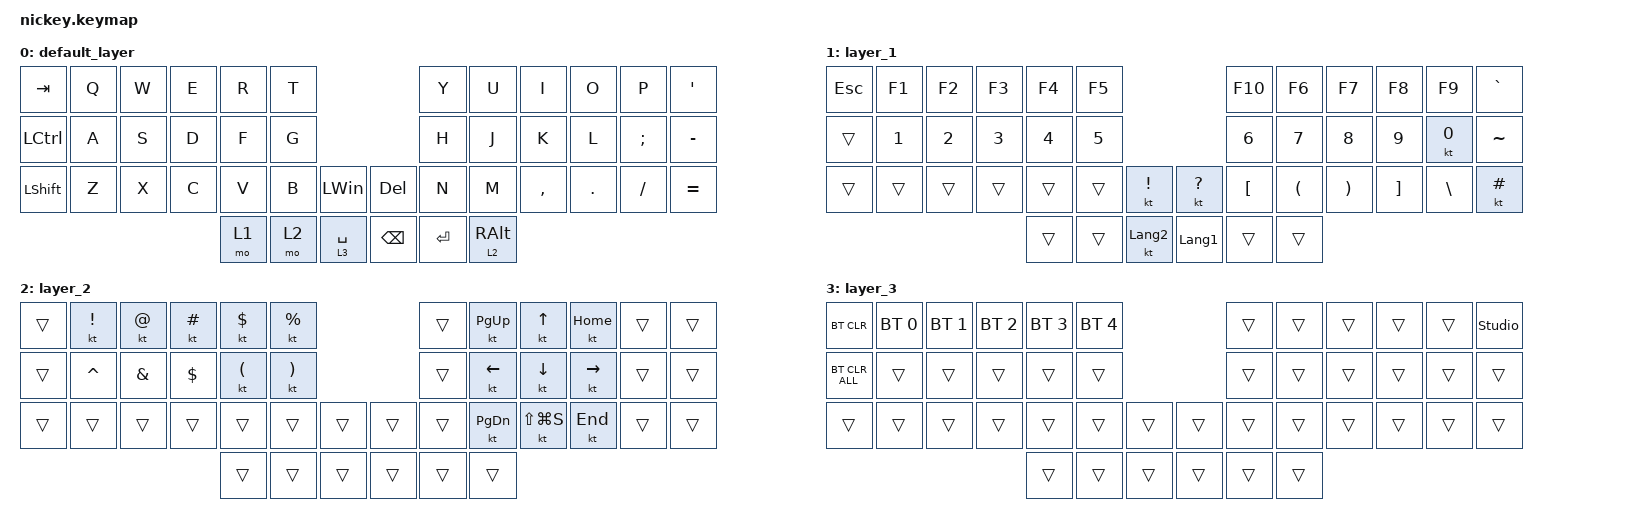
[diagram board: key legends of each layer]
#include <input/processors.dtsi>
#include <dt-bindings/zmk/input_transform.h>
#include <zephyr/dt-bindings/input/input-event-codes.h>
#include <behaviors.dtsi>
#include <dt-bindings/zmk/bt.h>
#include <dt-bindings/zmk/keys.h>
#include <dt-bindings/zmk/pointing.h>

&mt {
    flavor = "balanced";
    quick-tap-ms = <0>;
};

&lt {
    quick-tap-ms = <300>;
    flavor = "balanced";
};

/ {
    combos { compatible = "zmk,combos"; };

    macros {
        to_layer_0: to_layer_0 {
            compatible = "zmk,behavior-macro-one-param";
            #binding-cells = <1>;
            bindings = <&to 0 &macro_param_1to1 &kp MACRO_PLACEHOLDER>;
            label = "TO_LAYER_0";
        };
    };

    behaviors {
        lt_to_layer_0: lt_to_layer_0 {
            compatible = "zmk,behavior-hold-tap";
            label = "LAYER_TAP_TO_0";
            bindings = <&mo>, <&to_layer_0>;

            #binding-cells = <2>;
            tapping-term-ms = <200>;
        };

        scroll_up_down: mouse_wheel_up_down {
            compatible = "zmk,behavior-sensor-rotate";
            #sensor-binding-cells = <0>;
            bindings = <&msc SCRL_DOWN>, <&msc SCRL_UP>;

            tap-ms = <20>;
        };

        scroll_right_left: mouse_wheel_right_left {
            compatible = "zmk,behavior-sensor-rotate";
            #sensor-binding-cells = <0>;
            bindings = <&msc SCRL_LEFT>, <&msc SCRL_RIGHT>;

            tap-ms = <20>;
        };
    };

    keymap {
        compatible = "zmk,keymap";

        default_layer {
            bindings = <
&kp TAB    &kp Q  &kp W  &kp E  &kp R  &kp T                              &kp Y    &kp U       &kp I      &kp O    &kp P     &kp SQT
&kp LCTRL  &kp A  &kp S  &kp D  &kp F  &kp G                              &kp H    &kp J       &kp K      &kp L    &kp SEMI  &kp MINUS
&kp LSHFT  &kp Z  &kp X  &kp C  &kp V  &kp B  &kp LEFT_WIN    &kp DELETE  &kp N    &kp M       &kp COMMA  &kp DOT  &kp FSLH  &kp EQUAL
                                &mo 1  &mo 2  &lt 3 SPACE     &kp BSPC    &kp RET  &lt 2 RALT
            >;
        };

        layer_1 {
            bindings = <
&kp ESCAPE  &kp F1        &kp F2        &kp F3        &kp F4        &kp F5                                    &kp F10           &kp F6                &kp F7                 &kp F8             &kp F9         &kp GRAVE
&trans      &kp NUMBER_1  &kp NUMBER_2  &kp NUMBER_3  &kp NUMBER_4  &kp N5                                    &kp NUMBER_6      &kp N7                &kp N8                 &kp N9             &kt N0         &kp TILDE
&trans      &trans        &trans        &trans        &trans        &trans  &kt EXCL          &kt QUESTION    &kp LEFT_BRACKET  &kp LEFT_PARENTHESIS  &kp RIGHT_PARENTHESIS  &kp RIGHT_BRACKET  &kp BACKSLASH  &kt HASH
                                                      &trans        &trans  &kt LANGUAGE_2    &kp LANGUAGE_1  &trans            &trans
            >;
        };

        layer_2 {
            bindings = <
&trans  &kt EXCL   &kt AT         &kt HASH    &kt DOLLAR            &kt PERCENT                              &trans  &kt PAGE_UP    &kt UP_ARROW    &kt HOME   &trans  &trans
&trans  &kp CARET  &kp AMPERSAND  &kp DOLLAR  &kt LEFT_PARENTHESIS  &kt RIGHT_PARENTHESIS                    &trans  &kt LEFT       &kt DOWN_ARROW  &kt RIGHT  &trans  &trans
&trans  &trans     &trans         &trans      &trans                &trans                 &trans    &trans  &trans  &kt PAGE_DOWN  &kt LS(LG(S))   &kt END    &trans  &trans
                                              &trans                &trans                 &trans    &trans  &trans  &trans
            >;
        };

        layer_3 {
            bindings = <
&bt BT_CLR      &bt BT_SEL 0  &bt BT_SEL 1  &bt BT_SEL 2  &bt BT_SEL 3  &bt BT_SEL 4                    &trans  &trans  &trans  &trans  &trans  &studio_unlock
&bt BT_CLR_ALL  &trans        &trans        &trans        &trans        &trans                          &trans  &trans  &trans  &trans  &trans  &trans
&trans          &trans        &trans        &trans        &trans        &trans        &trans    &trans  &trans  &trans  &trans  &trans  &trans  &trans
                                                          &trans        &trans        &trans    &trans  &trans  &trans
            >;
        };
    };
};
